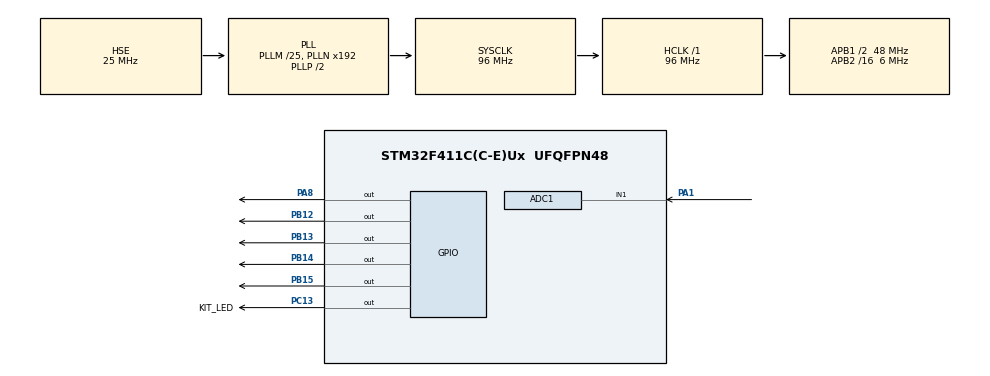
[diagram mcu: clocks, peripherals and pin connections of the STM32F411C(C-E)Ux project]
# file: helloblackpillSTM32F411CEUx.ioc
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ADC1.Channel-0\#ChannelRegularConversion=ADC_CHANNEL_1
ADC1.NbrOfConversionFlag=1
ADC1.Rank-0\#ChannelRegularConversion=1
ADC1.SamplingTime-0\#ChannelRegularConversion=ADC_SAMPLETIME_3CYCLES
ADC1.master=1
Mcu.Family=STM32F4
Mcu.Name=STM32F411C(C-E)Ux
Mcu.Package=UFQFPN48
NVIC.PriorityGroup=NVIC_PRIORITYGROUP_4
NVIC.TIM4_IRQn=true\:0\:0\:false\:false\:true\:true\:true\:true
PA1.Signal=ADCx_IN1
PA13.Mode=Serial_Wire
PA13.Signal=SYS_JTMS-SWDIO
PA14.Mode=Serial_Wire
PA14.Signal=SYS_JTCK-SWCLK
PA8.Signal=GPIO_Output
PB12.Signal=GPIO_Output
PB13.Signal=GPIO_Output
PB14.Signal=GPIO_Output
PB15.Signal=GPIO_Output
PC13-ANTI_TAMP.GPIO_Label=KIT_LED
PC13-ANTI_TAMP.Signal=GPIO_Output
PC14-OSC32_IN.Mode=LSE-External-Oscillator
PC14-OSC32_IN.Signal=RCC_OSC32_IN
PC15-OSC32_OUT.Mode=LSE-External-Oscillator
PC15-OSC32_OUT.Signal=RCC_OSC32_OUT
PH0\ -\ OSC_IN.Mode=HSE-External-Oscillator
PH0\ -\ OSC_IN.Signal=RCC_OSC_IN
PH1\ -\ OSC_OUT.Mode=HSE-External-Oscillator
PH1\ -\ OSC_OUT.Signal=RCC_OSC_OUT
ProjectManager.HeapSize=0x200
ProjectManager.StackSize=0x400
ProjectManager.TargetToolchain=Makefile
RCC.48MHZClocksFreq_Value=48000000
RCC.AHBFreq_Value=96000000
RCC.APB1CLKDivider=RCC_HCLK_DIV2
RCC.APB1Freq_Value=48000000
RCC.APB1TimFreq_Value=96000000
RCC.APB2CLKDivider=RCC_HCLK_DIV16
RCC.APB2Freq_Value=6000000
RCC.APB2TimFreq_Value=12000000
RCC.CortexFreq_Value=96000000
RCC.HCLKFreq_Value=96000000
RCC.HSE_VALUE=25000000
RCC.HSI_VALUE=16000000
RCC.PLLM=25
RCC.PLLSourceVirtual=RCC_PLLSOURCE_HSE
RCC.SYSCLKFreq_VALUE=96000000
RCC.SYSCLKSource=RCC_SYSCLKSOURCE_PLLCLK
RCC.VCOOutputFreq_Value=192000000
SH.ADCx_IN1.0=ADC1_IN1,IN1
TIM4.Period=1000
TIM4.Prescaler=9600-1
VP_TIM4_VS_ClockSourceINT.Mode=Internal
board=custom

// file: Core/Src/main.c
/* USER CODE BEGIN Header */
/**
  ******************************************************************************
  * @file           : main.c
  * @brief          : Main program body
  ******************************************************************************
  * @attention
  *
  * Copyright (c) 2024 STMicroelectronics.
  * All rights reserved.
  *
  * This software is licensed under terms that can be found in the LICENSE file
  * in the root directory of this software component.
  * If no LICENSE file comes with this software, it is provided AS-IS.
  *
  ******************************************************************************
  */
/* USER CODE END Header */
#include "main.h"

/* USER CODE BEGIN Includes */
uint8_t temp;
uint32_t adcValue;
/* USER CODE END Includes */

ADC_HandleTypeDef hadc1;

TIM_HandleTypeDef htim4;

void SystemClock_Config(void);
static void MX_GPIO_Init(void);
static void MX_TIM4_Init(void);
static void MX_ADC1_Init(void);

int main(void)
{

  /* MCU Configuration--------------------------------------------------------*/

  /* Reset of all peripherals, Initializes the Flash interface and the Systick. */
  HAL_Init();

  /* Configure the system clock */
  SystemClock_Config();

  /* Initialize all configured peripherals */
  MX_GPIO_Init();
  MX_TIM4_Init();
  MX_ADC1_Init();
  /* USER CODE BEGIN 2 */
  HAL_TIM_Base_Start_IT(&htim4);

    HAL_ADC_Start(&hadc1);

    while (1) {

        HAL_Delay(500);
    }
  /* USER CODE END 3 */
}

void SystemClock_Config(void)
{
  RCC_OscInitTypeDef RCC_OscInitStruct = {0};
  RCC_ClkInitTypeDef RCC_ClkInitStruct = {0};

  /** Configure the main internal regulator output voltage
  */
  __HAL_RCC_PWR_CLK_ENABLE();
  __HAL_PWR_VOLTAGESCALING_CONFIG(PWR_REGULATOR_VOLTAGE_SCALE1);

  /** Initializes the RCC Oscillators according to the specified parameters
  * in the RCC_OscInitTypeDef structure.
  */
  RCC_OscInitStruct.OscillatorType = RCC_OSCILLATORTYPE_HSE;
  RCC_OscInitStruct.HSEState = RCC_HSE_ON;
  RCC_OscInitStruct.PLL.PLLState = RCC_PLL_ON;
  RCC_OscInitStruct.PLL.PLLSource = RCC_PLLSOURCE_HSE;
  RCC_OscInitStruct.PLL.PLLM = 25;
  RCC_OscInitStruct.PLL.PLLN = 192;
  RCC_OscInitStruct.PLL.PLLP = RCC_PLLP_DIV2;
  RCC_OscInitStruct.PLL.PLLQ = 4;
  if (HAL_RCC_OscConfig(&RCC_OscInitStruct) != HAL_OK)
  {
    Error_Handler();
  }

  /** Initializes the CPU, AHB and APB buses clocks
  */
  RCC_ClkInitStruct.ClockType = RCC_CLOCKTYPE_HCLK|RCC_CLOCKTYPE_SYSCLK
                              |RCC_CLOCKTYPE_PCLK1|RCC_CLOCKTYPE_PCLK2;
  RCC_ClkInitStruct.SYSCLKSource = RCC_SYSCLKSOURCE_PLLCLK;
  RCC_ClkInitStruct.AHBCLKDivider = RCC_SYSCLK_DIV1;
  RCC_ClkInitStruct.APB1CLKDivider = RCC_HCLK_DIV2;
  RCC_ClkInitStruct.APB2CLKDivider = RCC_HCLK_DIV16;

  if (HAL_RCC_ClockConfig(&RCC_ClkInitStruct, FLASH_LATENCY_3) != HAL_OK)
  {
    Error_Handler();
  }
}

static void MX_ADC1_Init(void)
{

  ADC_ChannelConfTypeDef sConfig = {0};

  /** Configure the global features of the ADC (Clock, Resolution, Data Alignment and number of conversion)
  */
  hadc1.Instance = ADC1;
  hadc1.Init.ClockPrescaler = ADC_CLOCK_SYNC_PCLK_DIV2;
  hadc1.Init.Resolution = ADC_RESOLUTION_12B;
  hadc1.Init.ScanConvMode = DISABLE;
  hadc1.Init.ContinuousConvMode = DISABLE;
  hadc1.Init.DiscontinuousConvMode = DISABLE;
  hadc1.Init.ExternalTrigConvEdge = ADC_EXTERNALTRIGCONVEDGE_NONE;
  hadc1.Init.ExternalTrigConv = ADC_SOFTWARE_START;
  hadc1.Init.DataAlign = ADC_DATAALIGN_RIGHT;
  hadc1.Init.NbrOfConversion = 1;
  hadc1.Init.DMAContinuousRequests = DISABLE;
  hadc1.Init.EOCSelection = ADC_EOC_SINGLE_CONV;
  if (HAL_ADC_Init(&hadc1) != HAL_OK)
  {
    Error_Handler();
  }

  /** Configure for the selected ADC regular channel its corresponding rank in the sequencer and its sample time.
  */
  sConfig.Channel = ADC_CHANNEL_1;
  sConfig.Rank = 1;
  sConfig.SamplingTime = ADC_SAMPLETIME_3CYCLES;
  if (HAL_ADC_ConfigChannel(&hadc1, &sConfig) != HAL_OK)
  {
    Error_Handler();
  }

}

static void MX_TIM4_Init(void)
{

  TIM_ClockConfigTypeDef sClockSourceConfig = {0};
  TIM_MasterConfigTypeDef sMasterConfig = {0};

  htim4.Instance = TIM4;
  htim4.Init.Prescaler = 9600-1;
  htim4.Init.CounterMode = TIM_COUNTERMODE_UP;
  htim4.Init.Period = 20;
  htim4.Init.ClockDivision = TIM_CLOCKDIVISION_DIV1;
  htim4.Init.AutoReloadPreload = TIM_AUTORELOAD_PRELOAD_DISABLE;
  if (HAL_TIM_Base_Init(&htim4) != HAL_OK)
  {
    Error_Handler();
  }
  sClockSourceConfig.ClockSource = TIM_CLOCKSOURCE_INTERNAL;
  if (HAL_TIM_ConfigClockSource(&htim4, &sClockSourceConfig) != HAL_OK)
  {
    Error_Handler();
  }
  sMasterConfig.MasterOutputTrigger = TIM_TRGO_RESET;
  sMasterConfig.MasterSlaveMode = TIM_MASTERSLAVEMODE_DISABLE;
  if (HAL_TIMEx_MasterConfigSynchronization(&htim4, &sMasterConfig) != HAL_OK)
  {
    Error_Handler();
  }

}

static void MX_GPIO_Init(void)
{
  GPIO_InitTypeDef GPIO_InitStruct = {0};

  /* GPIO Ports Clock Enable */
  __HAL_RCC_GPIOC_CLK_ENABLE();
  __HAL_RCC_GPIOH_CLK_ENABLE();
  __HAL_RCC_GPIOA_CLK_ENABLE();
  __HAL_RCC_GPIOB_CLK_ENABLE();

  /*Configure GPIO pin Output Level */
  HAL_GPIO_WritePin(KIT_LED_GPIO_Port, KIT_LED_Pin, GPIO_PIN_RESET);

  /*Configure GPIO pin Output Level */
  HAL_GPIO_WritePin(GPIOB, GPIO_PIN_12|GPIO_PIN_13|GPIO_PIN_14|GPIO_PIN_15, GPIO_PIN_RESET);

  /*Configure GPIO pin Output Level */
  HAL_GPIO_WritePin(GPIOA, GPIO_PIN_8, GPIO_PIN_RESET);

  /*Configure GPIO pin : KIT_LED_Pin */
  GPIO_InitStruct.Pin = KIT_LED_Pin;
  GPIO_InitStruct.Mode = GPIO_MODE_OUTPUT_PP;
  GPIO_InitStruct.Pull = GPIO_NOPULL;
  GPIO_InitStruct.Speed = GPIO_SPEED_FREQ_LOW;
  HAL_GPIO_Init(KIT_LED_GPIO_Port, &GPIO_InitStruct);

  /*Configure GPIO pins : PB12 PB13 PB14 PB15 */
  GPIO_InitStruct.Pin = GPIO_PIN_12|GPIO_PIN_13|GPIO_PIN_14|GPIO_PIN_15;
  GPIO_InitStruct.Mode = GPIO_MODE_OUTPUT_PP;
  GPIO_InitStruct.Pull = GPIO_NOPULL;
  GPIO_InitStruct.Speed = GPIO_SPEED_FREQ_LOW;
  HAL_GPIO_Init(GPIOB, &GPIO_InitStruct);

  /*Configure GPIO pin : PA8 */
  GPIO_InitStruct.Pin = GPIO_PIN_8;
  GPIO_InitStruct.Mode = GPIO_MODE_OUTPUT_PP;
  GPIO_InitStruct.Pull = GPIO_NOPULL;
  GPIO_InitStruct.Speed = GPIO_SPEED_FREQ_LOW;
  HAL_GPIO_Init(GPIOA, &GPIO_InitStruct);

}

/* USER CODE BEGIN 4 */
void HAL_TIM_PeriodElapsedCallback(TIM_HandleTypeDef *htim) //Função chamada quando o timer zera
{
          HAL_ADC_Start(&hadc1);
        if (HAL_ADC_PollForConversion(&hadc1, 1000) == HAL_OK) {
            adcValue = HAL_ADC_GetValue(&hadc1);
        }
        HAL_ADC_Stop(&hadc1);
        HAL_GPIO_WritePin(GPIOB, GPIO_PIN_12|GPIO_PIN_13|GPIO_PIN_14|GPIO_PIN_15, GPIO_PIN_RESET);
        HAL_GPIO_WritePin(GPIOA, GPIO_PIN_8, GPIO_PIN_RESET);
        if (adcValue > 700)
        HAL_GPIO_WritePin(GPIOB, GPIO_PIN_12, GPIO_PIN_SET);

        if (adcValue >1300)
        HAL_GPIO_WritePin(GPIOB, GPIO_PIN_13, GPIO_PIN_SET);

        if (adcValue >1900)
        HAL_GPIO_WritePin(GPIOB, GPIO_PIN_14, GPIO_PIN_SET);

        if (adcValue >2700)
        HAL_GPIO_WritePin(GPIOB, GPIO_PIN_15, GPIO_PIN_SET);

        if (adcValue >3300)
        HAL_GPIO_WritePin(GPIOA, GPIO_PIN_8, GPIO_PIN_SET);
}
/* USER CODE END 4 */

void Error_Handler(void)
{
  __disable_irq();
  while (1)
  {
  }
}
